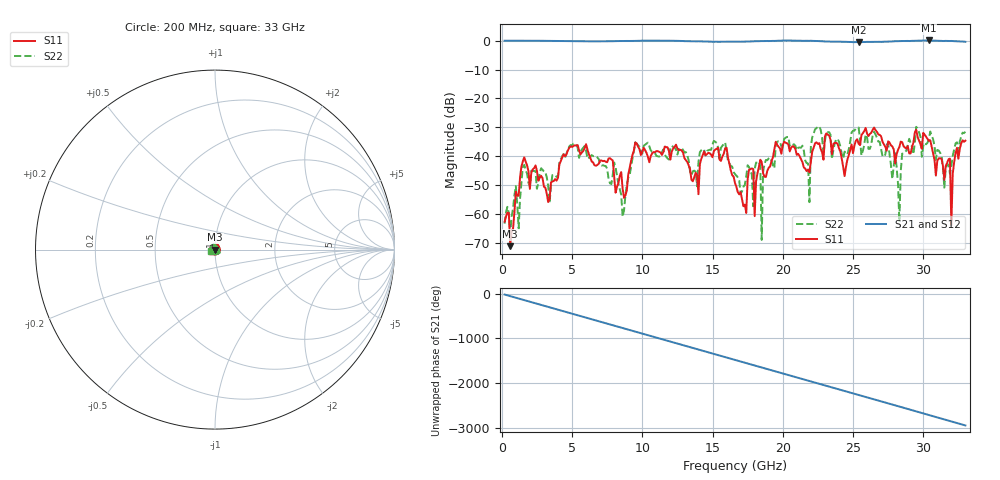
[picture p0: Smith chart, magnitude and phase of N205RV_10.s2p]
# GHZ S RI R 50
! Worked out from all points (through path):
!   329 points, 200 MHz to 33 GHz, reference 50 ohm
!   highest |S21| = 0.08 dB at 30.4 GHz (marker M1); lowest = -0.5 dB at 25.4 GHz (marker M2)
!   group delay of S21, straight-line fit = 248 ps
!   lowest |S11| = -71.3 dB at 600 MHz (marker M3), VSWR 1.00, Z = 50 + j0.0188 ohm
!   |S11| at or under -10 dB: start of sweep to end of sweep
!   |S22| runs from -69.1 to -29.7 dB; largest |S21 - S12| = 0.0019
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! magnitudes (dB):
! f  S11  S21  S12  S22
! 200 MHz  -62.8  0.0  0.0  -63.4
! 600 MHz  -71.3  0.0  0.0  -67.1
! 1.6 GHz  -40.5  0.0  0.0  -43.1
! 5.7 GHz  -38.8  -0.2  -0.2  -37.7
! 8.6 GHz  -51.2  -0.1  -0.1  -61.0
! 9.5 GHz  -35.3  -0.1  -0.1  -35.3
! 11.2 GHz  -38.5  0.0  0.0  -40.2
! 16.6 GHz  -49.4  -0.4  -0.4  -46.3
! 18.3 GHz  -43.8  -0.2  -0.2  -42.0
! 18.5 GHz  -42.0  -0.1  -0.1  -69.1
! 18.8 GHz  -47.2  -0.1  -0.1  -41.4
! 21.4 GHz  -42.1  -0.1  -0.1  -36.4
! 21.9 GHz  -45.6  -0.1  -0.1  -56.0
! 22.1 GHz  -38.4  -0.1  -0.1  -33.4
! 25.4 GHz  -35.7  -0.5  -0.5  -30.1
! 27.6 GHz  -35.3  -0.3  -0.3  -39.4
! 28.3 GHz  -36.9  -0.1  -0.1  -62.8
! 28.5 GHz  -35.2  -0.1  -0.1  -39.2
! 30.4 GHz  -34.7  0.1  0.1  -34.1
! 31.9 GHz  -40.9  -0.1  -0.1  -46.1
! 32 GHz  -64.0  -0.1  -0.1  -43.5
! 33 GHz  -34.7  -0.4  -0.4  -31.6
